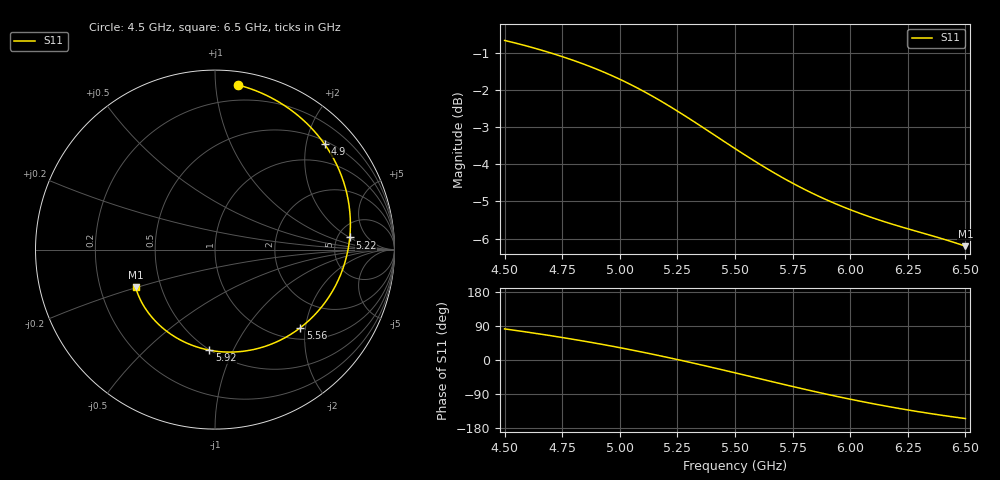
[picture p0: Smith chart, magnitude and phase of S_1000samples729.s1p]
! TOUCHSTONE file generated by CST MICROWAVE STUDIO
! Date and time: Sat Oct 29 04:35:29 2022
! Project name: L.cst
! Parameters = {Di=1.27; Epsilon_r=1.56; InnerDiameter=1.27; Length=2; Lf=10; Lg=60; OuterConductorThickness=0.2921; OuterDiameter=3.6; Wf=3; Wp=41.2; de=1.5; df=6.8; g=0.8; gx=2.41671; gy=2.60646; h=2.34; hf=1.524; px=11.2673; py=8.30853; w=9.7; wx=8.85061; wy=5.70207}
! Header version: 2018
! Port assignment regex: !\s*Touchstone port\s*([0-9]+)\s*=\s*(CST MWS port|CST DS port)\s*([0-9]+|Zmin|Zmax)\s*\(\"(.*)\"\)(\s*mode\s*([0-9]+))?.*
! Touchstone port assignment:
! Touchstone port 1 = CST MWS port 1 ("")
# GHz S DB R 50
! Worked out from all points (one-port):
!   101 points, 4.5 GHz to 6.5 GHz, reference 50 ohm
!   lowest |S11| = -6.2 dB at 6.5 GHz (marker M1), VSWR 2.92, Z = 17.9 - j9.92 ohm
!   |S11| at or under -10 dB: nowhere
!   S11 on the Smith chart (normalised r, x): 4.5 GHz: 0.09, +1.14; 4.9 GHz: 0.57, +2.37; 5.22 GHz: 6.48, +2.03; 5.56 GHz: 1.26, -1.87; 5.92 GHz: 0.50, -0.81; 6.5 GHz: 0.36, -0.20
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4.5  -0.67 82.1
4.58  -0.79 75.2
4.64  -0.89 69.8
4.76  -1.12 58.4
4.82  -1.25 52.3
4.9  -1.44 43.8
5  -1.71 32.5
5.06  -1.89 25.4
5.12  -2.09 18.0
5.18  -2.30 10.4
5.22  -2.45 5.1
5.26  -2.61 -0.2
5.32  -2.84 -8.3
5.38  -3.09 -16.7
5.44  -3.33 -25.2
5.5  -3.58 -33.8
5.56  -3.81 -42.5
5.62  -4.05 -51.2
5.66  -4.19 -57.0
5.76  -4.54 -71.3
5.84  -4.79 -82.4
5.92  -5.02 -93.2
6  -5.22 -103.4
6.12  -5.49 -117.7
6.18  -5.61 -124.4
6.26  -5.75 -132.8
6.38  -5.97 -144.3
6.5  -6.20 -154.5
